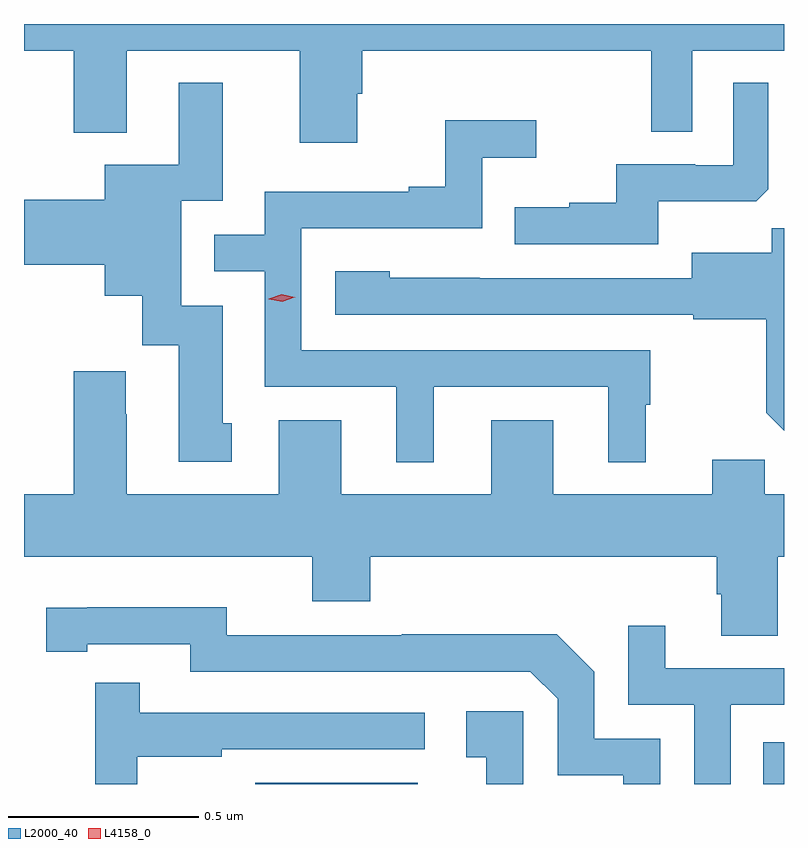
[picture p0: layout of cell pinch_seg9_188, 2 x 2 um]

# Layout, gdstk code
import gdstk
lib = gdstk.Library(unit=1e-6, precision=1e-09)
def R(c, l, rs):  # rectangles x0, y0, x1, y1
    for r in rs: c.add(gdstk.rectangle(r[:2], r[2:], *l))
def P(c, l, *ps):  # polygons
    for p in ps: c.add(gdstk.Polygon(p, *l))
L2000_40 = (2000, 40)
L4158_0 = (4158, 0)

pinch_seg9_188 = lib.new_cell('pinch_seg9_188')
R(pinch_seg9_188, L2000_40, [(837.735,1182.502,838.162,1182.505), (839.071,1182.502,839.126,1182.612)])
P(pinch_seg9_188, L2000_40, [(838.003,1184.319),(838.016,1184.319),(838.016,1184.432),(838.776,1184.432),(838.776,1184.218),(838.884,1184.218),(838.884,1184.432),(839.126,1184.432),(839.126,1184.502),(837.126,1184.502),(837.126,1184.432),(837.257,1184.432),(837.257,1184.216),(837.397,1184.216),(837.397,1184.432),(837.851,1184.432),(837.851,1184.19),(838.003,1184.19)],
  [(837.673,1183.452),(837.649,1183.452),(837.649,1183.761),(837.54,1183.761),(837.54,1184.037),(837.649,1184.037),(837.649,1184.347),(837.533,1184.347),(837.533,1184.131),(837.338,1184.131),(837.338,1184.04),(837.126,1184.04),(837.126,1183.868),(837.338,1183.868),(837.338,1183.787),(837.437,1183.787),(837.437,1183.656),(837.533,1183.656),(837.533,1183.35),(837.673,1183.35)],
  [(838.795,1184.036),(839.053,1184.036),(839.085,1184.067),(839.085,1184.347),(838.992,1184.347),(838.992,1184.13),(838.892,1184.13),(838.892,1184.133),(838.685,1184.133),(838.685,1184.032),(838.561,1184.032),(838.561,1184.02),(838.417,1184.02),(838.417,1183.923),(838.795,1183.923)],
  [(838.204,1183.548),(838.664,1183.548),(838.664,1183.349),(838.762,1183.349),(838.762,1183.5),(838.774,1183.5),(838.774,1183.644),(837.855,1183.644),(837.855,1183.965),(838.332,1183.965),(838.332,1184.15),(838.474,1184.15),(838.474,1184.249),(838.234,1184.249),(838.234,1184.074),(838.139,1184.074),(838.139,1184.061),(837.759,1184.061),(837.759,1183.947),(837.626,1183.947),(837.626,1183.851),(837.759,1183.851),(837.759,1183.548),(838.106,1183.548),(838.106,1183.349),(838.204,1183.349)],
  [(839.126,1183.964),(839.094,1183.964),(839.094,1183.9),(838.883,1183.9),(838.883,1183.833),(838.325,1183.833),(838.325,1183.834),(838.089,1183.834),(838.089,1183.852),(837.945,1183.852),(837.945,1183.737),(838.887,1183.737),(838.887,1183.725),(839.079,1183.725),(839.079,1183.479),(839.126,1183.432)],
  [(839.109,1183.1),(839.126,1183.1),(839.126,1183.264),(839.075,1183.264),(839.075,1183.355),(838.937,1183.355),(838.937,1183.264),(838.519,1183.264),(838.519,1183.459),(838.355,1183.459),(838.355,1183.264),(837.961,1183.264),(837.961,1183.459),(837.797,1183.459),(837.797,1183.264),(837.397,1183.264),(837.397,1183.475),(837.394,1183.475),(837.394,1183.588),(837.257,1183.588),(837.257,1183.264),(837.126,1183.264),(837.126,1183.1),(837.884,1183.1),(837.884,1182.983),(838.037,1182.983),(838.037,1183.1),(838.949,1183.1),(838.949,1183.002),(838.961,1183.002),(838.961,1182.892),(839.109,1182.892)],
  [(838.8,1182.621),(838.626,1182.621),(838.626,1182.798),(838.528,1182.896),(838.12,1182.896),(838.12,1182.894),(837.66,1182.894),(837.66,1182.967),(837.292,1182.967),(837.292,1182.966),(837.184,1182.966),(837.184,1182.85),(837.292,1182.85),(837.292,1182.87),(837.564,1182.87),(837.564,1182.798),(838.458,1182.798),(838.53,1182.726),(838.53,1182.525),(838.703,1182.525),(838.703,1182.502),(838.8,1182.502)],
  [(838.986,1182.711),(839.126,1182.711),(839.126,1182.807),(838.813,1182.807),(838.813,1182.919),(838.716,1182.919),(838.716,1182.711),(838.89,1182.711),(838.89,1182.502),(838.986,1182.502)],
  [(837.424,1182.574),(837.647,1182.574),(837.647,1182.594),(838.18,1182.594),(838.18,1182.69),(837.431,1182.69),(837.431,1182.769),(837.314,1182.769),(837.314,1182.502),(837.424,1182.502)],
  [(838.44,1182.694),(838.29,1182.694),(838.29,1182.573),(838.343,1182.573),(838.343,1182.502),(838.44,1182.502)])
P(pinch_seg9_188, L4158_0, [(837.806,1183.771),(837.77,1183.778),(837.77,1183.778),(837.77,1183.779),(837.804,1183.791),(837.839,1183.783),(837.84,1183.783),(837.839,1183.783)])

lib.write_gds('pinch_seg9_188.gds')
